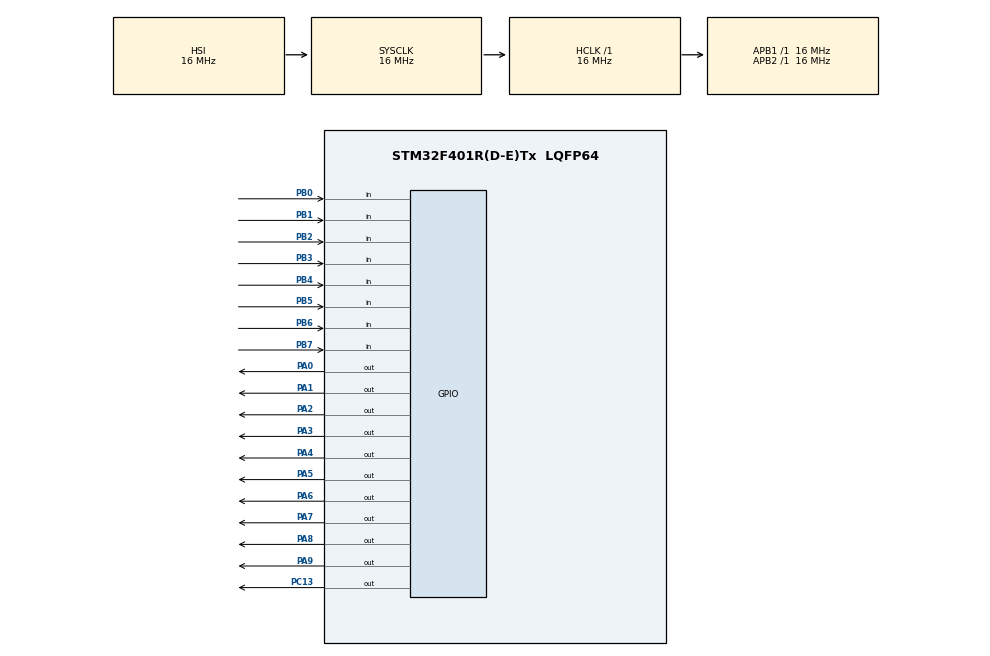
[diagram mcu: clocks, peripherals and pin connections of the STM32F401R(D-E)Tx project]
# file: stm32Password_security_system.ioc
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Mcu.Family=STM32F4
Mcu.Name=STM32F401R(D-E)Tx
Mcu.Package=LQFP64
NVIC.PriorityGroup=NVIC_PRIORITYGROUP_4
PA0-WKUP.Signal=GPIO_Output
PA1.Signal=GPIO_Output
PA2.Signal=GPIO_Output
PA3.Signal=GPIO_Output
PA4.Signal=GPIO_Output
PA5.Signal=GPIO_Output
PA6.Signal=GPIO_Output
PA7.Signal=GPIO_Output
PA8.Signal=GPIO_Output
PA9.Signal=GPIO_Output
PB0.Signal=GPIO_Input
PB1.Signal=GPIO_Input
PB2.Signal=GPIO_Input
PB3.Signal=GPIO_Input
PB4.Signal=GPIO_Input
PB5.Signal=GPIO_Input
PB6.Signal=GPIO_Input
PB7.Signal=GPIO_Input
PC13-ANTI_TAMP.Signal=GPIO_Output
ProjectManager.HeapSize=0x200
ProjectManager.StackSize=0x400
ProjectManager.TargetToolchain=STM32CubeIDE
RCC.AHBFreq_Value=16000000
RCC.APB1Freq_Value=16000000
RCC.APB2Freq_Value=16000000
RCC.CortexFreq_Value=16000000
RCC.HSE_VALUE=25000000
RCC.HSI_VALUE=16000000
RCC.LSE_VALUE=32768
RCC.SYSCLKFreq_VALUE=16000000
RCC.VCOOutputFreq_Value=192000000
board=custom

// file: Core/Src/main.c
/* USER CODE BEGIN Header */
/**
  ******************************************************************************
  * @file           : main.c
  * @brief          : Main program body
  ******************************************************************************
  * @attention
  *
  * Copyright (c) 2023 STMicroelectronics.
  * All rights reserved.
  *
  * This software is licensed under terms that can be found in the LICENSE file
  * in the root directory of this software component.
  * If no LICENSE file comes with this software, it is provided AS-IS.
  *
  ******************************************************************************
  */
/* USER CODE END Header */
#include "main.h"

void SystemClock_Config(void);
static void MX_GPIO_Init(void);
/* USER CODE BEGIN PFP */
unsigned char key_press(void);
unsigned char check_clm(unsigned char pin_var);
void LCD_init(void);
void LCD(uint8_t val_1, uint8_t cmd);
void LCD_str(unsigned char *str1);
void Disp_pass_key(unsigned char key_var);
/* USER CODE END PFP */

int main(void)
{

  /* MCU Configuration--------------------------------------------------------*/

  /* Reset of all peripherals, Initializes the Flash interface and the Systick. */
  HAL_Init();

  /* Configure the system clock */
  SystemClock_Config();

  /* Initialize all configured peripherals */
  MX_GPIO_Init();
  /* USER CODE BEGIN 2 */
  unsigned char var1;                 //to store the pressed key
  	unsigned char arr[] = "Welcome";    //String to be displayed on LCD

      HAL_Init();
      SystemClock_Config();
      MX_GPIO_Init();

  	HAL_GPIO_WritePin(GPIOA, GPIO_PIN_0|GPIO_PIN_1|GPIO_PIN_2|GPIO_PIN_3
                            |GPIO_PIN_4|GPIO_PIN_5|GPIO_PIN_6|GPIO_PIN_7
                            |GPIO_PIN_8|GPIO_PIN_9, GPIO_PIN_RESET);

      HAL_GPIO_WritePin(GPIOB, GPIO_PIN_0|GPIO_PIN_1|GPIO_PIN_2|GPIO_PIN_3, GPIO_PIN_SET);
  	HAL_GPIO_WritePin(GPIOB, GPIO_PIN_4|GPIO_PIN_5|GPIO_PIN_6|GPIO_PIN_7, GPIO_PIN_RESET);

  	LCD_init();                         //LCD initialization function
  	LCD_str(&arr[0]);                   //LCD string display function
  	HAL_Delay(1000);
  	LCD(0x80, 0);                       //cursor position to start of first line
  	LCD_str("Enter password");          //display "Enter password" on first line
  	LCD(0xC0, 0);
  /* USER CODE END 2 */

  /* Infinite loop */
  /* USER CODE BEGIN WHILE */
  while (1)
  {
	  HAL_GPIO_WritePin(GPIOC, GPIO_PIN_13, GPIO_PIN_SET);
	  		HAL_Delay(300);
	  		var1 = key_press();
	  		Disp_pass_key(var1);
	  		HAL_GPIO_WritePin(GPIOC, GPIO_PIN_13, GPIO_PIN_RESET);
	  		HAL_Delay(1000);
    /* USER CODE END WHILE */

  }
}

void SystemClock_Config(void)
{
  RCC_OscInitTypeDef RCC_OscInitStruct = {0};
  RCC_ClkInitTypeDef RCC_ClkInitStruct = {0};

  /** Configure the main internal regulator output voltage
  */
  __HAL_RCC_PWR_CLK_ENABLE();
  __HAL_PWR_VOLTAGESCALING_CONFIG(PWR_REGULATOR_VOLTAGE_SCALE2);

  /** Initializes the RCC Oscillators according to the specified parameters
  * in the RCC_OscInitTypeDef structure.
  */
  RCC_OscInitStruct.OscillatorType = RCC_OSCILLATORTYPE_HSI;
  RCC_OscInitStruct.HSIState = RCC_HSI_ON;
  RCC_OscInitStruct.HSICalibrationValue = RCC_HSICALIBRATION_DEFAULT;
  RCC_OscInitStruct.PLL.PLLState = RCC_PLL_NONE;
  if (HAL_RCC_OscConfig(&RCC_OscInitStruct) != HAL_OK)
  {
    Error_Handler();
  }

  /** Initializes the CPU, AHB and APB buses clocks
  */
  RCC_ClkInitStruct.ClockType = RCC_CLOCKTYPE_HCLK|RCC_CLOCKTYPE_SYSCLK
                              |RCC_CLOCKTYPE_PCLK1|RCC_CLOCKTYPE_PCLK2;
  RCC_ClkInitStruct.SYSCLKSource = RCC_SYSCLKSOURCE_HSI;
  RCC_ClkInitStruct.AHBCLKDivider = RCC_SYSCLK_DIV1;
  RCC_ClkInitStruct.APB1CLKDivider = RCC_HCLK_DIV1;
  RCC_ClkInitStruct.APB2CLKDivider = RCC_HCLK_DIV1;

  if (HAL_RCC_ClockConfig(&RCC_ClkInitStruct, FLASH_LATENCY_0) != HAL_OK)
  {
    Error_Handler();
  }
}

static void MX_GPIO_Init(void)
{
  GPIO_InitTypeDef GPIO_InitStruct = {0};

  /* GPIO Ports Clock Enable */
  __HAL_RCC_GPIOC_CLK_ENABLE();
  __HAL_RCC_GPIOA_CLK_ENABLE();
  __HAL_RCC_GPIOB_CLK_ENABLE();

  /*Configure GPIO pin Output Level */
  HAL_GPIO_WritePin(GPIOC, GPIO_PIN_13, GPIO_PIN_RESET);

  /*Configure GPIO pin Output Level */
  HAL_GPIO_WritePin(GPIOA, GPIO_PIN_0|GPIO_PIN_1|GPIO_PIN_2|GPIO_PIN_3
                          |GPIO_PIN_4|GPIO_PIN_5|GPIO_PIN_6|GPIO_PIN_7
                          |GPIO_PIN_8|GPIO_PIN_9, GPIO_PIN_RESET);

  /*Configure GPIO pin : PC13 */
  GPIO_InitStruct.Pin = GPIO_PIN_13;
  GPIO_InitStruct.Mode = GPIO_MODE_OUTPUT_PP;
  GPIO_InitStruct.Pull = GPIO_NOPULL;
  GPIO_InitStruct.Speed = GPIO_SPEED_FREQ_LOW;
  HAL_GPIO_Init(GPIOC, &GPIO_InitStruct);

  /*Configure GPIO pins : PA0 PA1 PA2 PA3
                           PA4 PA5 PA6 PA7
                           PA8 PA9 */
  GPIO_InitStruct.Pin = GPIO_PIN_0|GPIO_PIN_1|GPIO_PIN_2|GPIO_PIN_3
                          |GPIO_PIN_4|GPIO_PIN_5|GPIO_PIN_6|GPIO_PIN_7
                          |GPIO_PIN_8|GPIO_PIN_9;
  GPIO_InitStruct.Mode = GPIO_MODE_OUTPUT_PP;
  GPIO_InitStruct.Pull = GPIO_NOPULL;
  GPIO_InitStruct.Speed = GPIO_SPEED_FREQ_LOW;
  HAL_GPIO_Init(GPIOA, &GPIO_InitStruct);

  /*Configure GPIO pins : PB0 PB1 PB2 PB3
                           PB4 PB5 PB6 PB7 */
  GPIO_InitStruct.Pin = GPIO_PIN_0|GPIO_PIN_1|GPIO_PIN_2|GPIO_PIN_3
                          |GPIO_PIN_4|GPIO_PIN_5|GPIO_PIN_6|GPIO_PIN_7;
  GPIO_InitStruct.Mode = GPIO_MODE_INPUT;
  GPIO_InitStruct.Pull = GPIO_NOPULL;
  HAL_GPIO_Init(GPIOB, &GPIO_InitStruct);

}
unsigned char key_press(void)
{
	unsigned char clm_var;
	unsigned char key_arr[] = {7, 8, 9, 15, 4, 5, 6, 14, 1, 2, 3, 13, 10, 0, 11, 12};

	if (HAL_GPIO_ReadPin(GPIOB, GPIO_PIN_0) == 0)
	{
		clm_var = check_clm(GPIO_PIN_0);
		return key_arr[clm_var-1];
	}
	else if (HAL_GPIO_ReadPin(GPIOB, GPIO_PIN_1) == 0)
	{
		clm_var = check_clm(GPIO_PIN_1);
		return key_arr[clm_var+3];
	}
	else if (HAL_GPIO_ReadPin(GPIOB, GPIO_PIN_2) == 0)
	{
		clm_var = check_clm(GPIO_PIN_2);
		return key_arr[clm_var+7];
	}
	else if (HAL_GPIO_ReadPin(GPIOB, GPIO_PIN_3) == 0)
	{
		clm_var = check_clm(GPIO_PIN_3);
		return key_arr[clm_var+11];
	}
	else
		return 16;
}

unsigned char check_clm(unsigned char pin_var)
{
	unsigned char clm;
	HAL_GPIO_WritePin(GPIOB, GPIO_PIN_4|GPIO_PIN_5|GPIO_PIN_6|GPIO_PIN_7, GPIO_PIN_SET);		//Set all columns to logic 1 ie connected to Vcc

	HAL_GPIO_WritePin(GPIOB, GPIO_PIN_4, GPIO_PIN_RESET);						//set first column to Gnd
	if(HAL_GPIO_ReadPin(GPIOB, pin_var) == 0)
		clm = 1;

	HAL_GPIO_WritePin(GPIOB, GPIO_PIN_4, GPIO_PIN_SET);
	HAL_GPIO_WritePin(GPIOB, GPIO_PIN_5, GPIO_PIN_RESET);						//set second column to Gnd
	if(HAL_GPIO_ReadPin(GPIOB, pin_var) == 0)
		clm = 2;

	HAL_GPIO_WritePin(GPIOB, GPIO_PIN_5, GPIO_PIN_SET);
	HAL_GPIO_WritePin(GPIOB, GPIO_PIN_6, GPIO_PIN_RESET);						//set third column to Gnd
	if(HAL_GPIO_ReadPin(GPIOB, pin_var) == 0)
		clm = 3;

	HAL_GPIO_WritePin(GPIOB, GPIO_PIN_6, GPIO_PIN_SET);
	HAL_GPIO_WritePin(GPIOB, GPIO_PIN_7, GPIO_PIN_RESET);						//set fourth column to Gnd
	if(HAL_GPIO_ReadPin(GPIOB, pin_var) == 0)
		clm = 4;

	HAL_GPIO_WritePin(GPIOB, GPIO_PIN_4|GPIO_PIN_5|GPIO_PIN_6|GPIO_PIN_7, GPIO_PIN_RESET);		//Set all columns to logic 0 ie connected to GND
	return clm;
}

void LCD_init(void)
{
	LCD(0x38, 0);			//2 lines, 5*7 matrix
	//LCD(0x0C, 0);			//Display on, cursor off
	LCD(0x0E, 0);			//Display on, cursor blinking
	LCD(0x06, 0);			//Increment cursor (shift cursor to right)
	LCD(0x01, 0);			//Clear display screen
	LCD(0x80, 0);			//Force cursor to beginning ( 1st line)
}

void LCD(uint8_t val_1, uint8_t cmd)
{
	uint8_t data1;

	HAL_GPIO_WritePin(GPIOA, GPIO_PIN_8, cmd);			//set RS = cmd; (cmd=0) => Command; (cmd=1) => Data

	data1 = val_1 & 0x01;														//mask bit and assign it to GPIO 0
	HAL_GPIO_WritePin(GPIOA, GPIO_PIN_0, data1);

	data1 = (val_1>>1) & 0x01;											//mask bit and assign it to GPIO 1
	HAL_GPIO_WritePin(GPIOA, GPIO_PIN_1, data1);

	data1 = (val_1>>2) & 0x01;											//mask bit and assign it to GPIO 2
	HAL_GPIO_WritePin(GPIOA, GPIO_PIN_2, data1);

	data1 = (val_1>>3) & 0x01;											//mask bit and assign it to GPIO 3
	HAL_GPIO_WritePin(GPIOA, GPIO_PIN_3, data1);

	data1 = (val_1>>4) & 0x01;											//mask bit and assign it to GPIO 4
	HAL_GPIO_WritePin(GPIOA, GPIO_PIN_4, data1);

	data1 = (val_1>>5) & 0x01;											//mask bit and assign it to GPIO 5
	HAL_GPIO_WritePin(GPIOA, GPIO_PIN_5, data1);

	data1 = (val_1>>6) & 0x01;											//mask bit and assign it to GPIO 6
	HAL_GPIO_WritePin(GPIOA, GPIO_PIN_6, data1);

	data1 = (val_1>>7) & 0x01;											//mask bit and assign it to GPIO 7
	HAL_GPIO_WritePin(GPIOA, GPIO_PIN_7, data1);

	//---------------------------------------------//
	//		Enable Pulse		//
	HAL_GPIO_WritePin(GPIOA, GPIO_PIN_9, GPIO_PIN_SET);
	HAL_Delay(5);
	HAL_GPIO_WritePin(GPIOA, GPIO_PIN_9, GPIO_PIN_RESET);
}

void LCD_str(unsigned char *str1)
{
	while(*str1 != 0)               //0 ==> null character
	{
		LCD(*str1, 1);              //*str1 : value at the address pointed
		str1++;
	}
}

void Disp_pass_key(unsigned char key_var)
{
	static unsigned char pass_var1 = 0;
	static unsigned char key_arr[5];
	unsigned char enter_key[5] = {"12345"};         //correct passkey
	unsigned char i;

	if(key_var != 16)
	{
		key_arr[pass_var1] = key_var + 48;
		LCD(key_var + 48, 1);
		pass_var1++;
		if(pass_var1 == 5)
		{
			LCD(0xC0, 0);
			for(i=0;i<5;i++)
			{
				if(key_arr[i] != enter_key[i])
				{
					LCD_str("Re-enter pw");
					pass_var1 = 0;
					break;
				}
			}
			if(i == 5)
			{
				LCD_str("Welcome!!!!");
			}
			HAL_Delay(3000);
			pass_var1 = 0;
			LCD(0x01, 0);
			LCD(0x80, 0);
			LCD_str("Enter password:");
			LCD(0xC0, 0);
		}

	}
}

void Error_Handler(void)
{
  __disable_irq();
  while (1)
  {
  }
}
